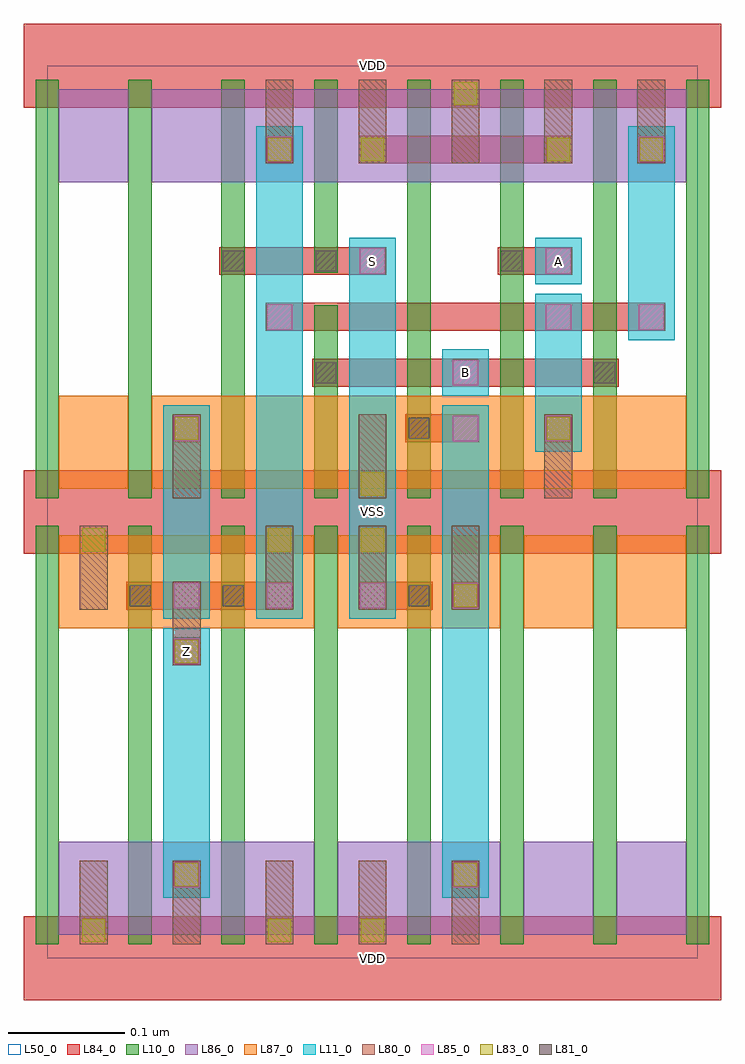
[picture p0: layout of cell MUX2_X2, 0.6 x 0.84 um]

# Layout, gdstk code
import gdstk
lib = gdstk.Library(unit=1e-6, precision=1e-09)
def R(c, l, rs):  # rectangles x0, y0, x1, y1
    for r in rs: c.add(gdstk.rectangle(r[:2], r[2:], *l))
def A(c, l, x, y, w, h, nx, ny, dx, dy):  # array of equal rectangles
    R(c, l, [(x+i*dx, y+j*dy, x+i*dx+w, y+j*dy+h) for i in range(nx) for j in range(ny)])
L10_0 = (10, 0)
L11_0 = (11, 0)
L50_0 = (50, 0)
L80_0 = (80, 0)
L81_0 = (81, 0)
L83_0 = (83, 0)
L84_0 = (84, 0)
L85_0 = (85, 0)
L86_0 = (86, 0)
L87_0 = (87, 0)

mux2_x2 = lib.new_cell('MUX2_X2')
A(mux2_x2, L10_0, -0.01, 0.012, 0.02, 0.36, 8, 1, 0.08, 0)
A(mux2_x2, L10_0, -0.01, 0.396, 0.02, 0.36, 3, 1, 0.08, 0)
A(mux2_x2, L10_0, 0.31, 0.396, 0.02, 0.36, 4, 1, 0.08, 0)
R(mux2_x2, L10_0, [(0.23,0.396,0.25,0.562), (0.23,0.59,0.25,0.756)])
R(mux2_x2, L11_0, [(0.1,0.052,0.14,0.284), (0.34,0.052,0.38,0.476), (0.1,0.292,0.14,0.476), (0.18,0.292,0.22,0.716), (0.26,0.292,0.3,0.62), (0.42,0.436,0.46,0.572), (0.34,0.484,0.38,0.524), (0.5,0.532,0.54,0.716), (0.42,0.58,0.46,0.62)])
R(mux2_x2, L50_0, [(0,0,0.56,0.768)])
A(mux2_x2, L80_0, 0.028, 0.012, 0.024, 0.072, 5, 1, 0.08, 0)
A(mux2_x2, L80_0, 0.188, 0.3, 0.024, 0.072, 3, 1, 0.08, 0)
A(mux2_x2, L80_0, 0.108, 0.396, 0.024, 0.072, 3, 1, 0.16, 0)
A(mux2_x2, L80_0, 0.188, 0.684, 0.024, 0.072, 5, 1, 0.08, 0)
R(mux2_x2, L80_0, [(0.108,0.252,0.132,0.324), (0.028,0.3,0.052,0.372)])
R(mux2_x2, L81_0, [(0.071,0.303,0.089,0.321), (0.151,0.303,0.169,0.321), (0.311,0.303,0.329,0.321), (0.311,0.447,0.329,0.465), (0.231,0.495,0.249,0.513), (0.471,0.495,0.489,0.513), (0.151,0.591,0.169,0.609), (0.231,0.591,0.249,0.609), (0.391,0.591,0.409,0.609)])
A(mux2_x2, L83_0, 0.19, 0.014, 0.02, 0.02, 1, 3, 0, 0.336)
A(mux2_x2, L83_0, 0.11, 0.062, 0.02, 0.02, 1, 3, 0, 0.192)
R(mux2_x2, L83_0, [(0.03,0.014,0.05,0.034), (0.27,0.014,0.29,0.034), (0.35,0.062,0.37,0.082), (0.35,0.302,0.37,0.322), (0.03,0.35,0.05,0.37), (0.27,0.35,0.29,0.37), (0.27,0.398,0.29,0.418), (0.43,0.446,0.45,0.466), (0.27,0.686,0.29,0.706), (0.43,0.686,0.45,0.706), (0.51,0.686,0.53,0.706), (0.35,0.734,0.37,0.754)])
A(mux2_x2, L84_0, -0.02, -0.036, 0.6, 0.072, 1, 3, 0, 0.384)
A(mux2_x2, L84_0, 0.108, 0.06, 0.024, 0.024, 1, 3, 0, 0.192)
R(mux2_x2, L84_0, [(0.348,0.06,0.372,0.084), (0.068,0.3,0.212,0.324), (0.268,0.3,0.332,0.324), (0.348,0.3,0.372,0.324), (0.308,0.444,0.372,0.468), (0.428,0.444,0.452,0.468), (0.228,0.492,0.492,0.516), (0.188,0.54,0.532,0.564), (0.148,0.588,0.292,0.612), (0.388,0.588,0.452,0.612), (0.188,0.684,0.212,0.708), (0.268,0.684,0.452,0.708), (0.508,0.684,0.532,0.708)])
A(mux2_x2, L85_0, 0.109, 0.061, 0.022, 0.022, 1, 3, 0, 0.192)
A(mux2_x2, L85_0, 0.109, 0.301, 0.022, 0.022, 4, 1, 0.08, 0)
R(mux2_x2, L85_0, [(0.349,0.061,0.371,0.083), (0.349,0.445,0.371,0.467), (0.429,0.445,0.451,0.467), (0.349,0.493,0.371,0.515), (0.189,0.541,0.211,0.563), (0.429,0.541,0.451,0.563), (0.509,0.541,0.531,0.563), (0.269,0.589,0.291,0.611), (0.429,0.589,0.451,0.611), (0.189,0.685,0.211,0.707), (0.509,0.685,0.531,0.707)])
R(mux2_x2, L86_0, [(0.01,0.02,0.23,0.1), (0.25,0.02,0.39,0.1), (0.41,0.02,0.47,0.1), (0.49,0.02,0.55,0.1), (0.01,0.668,0.07,0.748), (0.09,0.668,0.55,0.748)])
R(mux2_x2, L87_0, [(0.01,0.284,0.23,0.364), (0.25,0.284,0.39,0.364), (0.41,0.284,0.47,0.364), (0.49,0.284,0.55,0.364), (0.01,0.404,0.07,0.484), (0.09,0.404,0.55,0.484)])
mux2_x2.add(gdstk.Label('VDD', (0.28,0.768), layer=88, texttype=0))
mux2_x2.add(gdstk.Label('VDD', (0.28,0), layer=88, texttype=0))
mux2_x2.add(gdstk.Label('VSS', (0.28,0.384), layer=88, texttype=0))
mux2_x2.add(gdstk.Label('Z', (0.12,0.264), layer=31, texttype=0))
mux2_x2.add(gdstk.Label('S', (0.28,0.6), layer=31, texttype=0))
mux2_x2.add(gdstk.Label('A', (0.44,0.6), layer=31, texttype=0))
mux2_x2.add(gdstk.Label('B', (0.36,0.504), layer=31, texttype=0))

lib.write_gds('MUX2_X2.gds')
